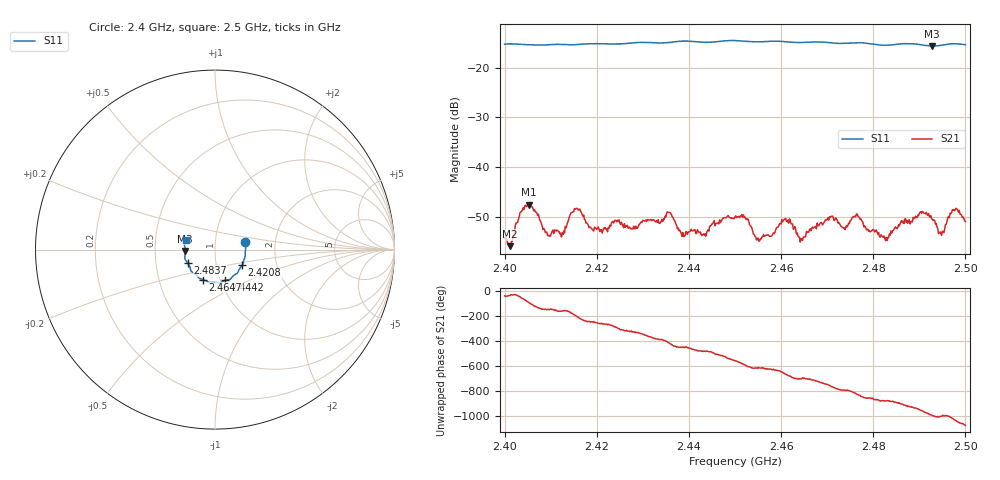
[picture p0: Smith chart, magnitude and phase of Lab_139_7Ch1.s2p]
# Hz S RI R 50
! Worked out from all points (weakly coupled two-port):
!   601 points, 2.4 GHz to 2.5 GHz, reference 50 ohm
!   highest |S21| = -47.63 dB at 2.4053 GHz (marker M1); lowest = -56.0 dB at 2.4012 GHz (marker M2)
!   lowest |S11| = -15.6 dB at 2.4927 GHz (marker M3), VSWR 1.40, Z = 35.8 - j0.511 ohm
!   |S11| at or under -10 dB: start of sweep to end of sweep
!   S12 and S22 are empty: the file has one direction only
!   S11 on the Smith chart (normalised r, x): 2.4 GHz: 1.40, +0.12; 2.4208 GHz: 1.33, -0.24; 2.4442 GHz: 1.05, -0.37; 2.4647 GHz: 0.83, -0.29; 2.4837 GHz: 0.73, -0.11; 2.5 GHz: 0.72, +0.08
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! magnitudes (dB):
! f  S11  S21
! 2.4 GHz  -15.3  -54.4
! 2.4012 GHz  -15.2  -56.0
! 2.4053 GHz  -15.4  -47.6
! 2.4097 GHz  -15.3  -53.8
! 2.4167 GHz  -15.2  -49.2
! 2.4208 GHz  -15.2  -52.7
! 2.4333 GHz  -15.0  -50.6
! 2.4357 GHz  -14.9  -49.2
! 2.4387 GHz  -14.6  -53.2
! 2.4442 GHz  -14.9  -52.7
! 2.45 GHz  -14.5  -50.1
! 2.4552 GHz  -14.8  -55.0
! 2.4607 GHz  -14.7  -50.6
! 2.4647 GHz  -14.9  -54.8
! 2.4667 GHz  -14.8  -52.3
! 2.4763 GHz  -15.0  -49.6
! 2.4833 GHz  -15.4  -54.2
! 2.4837 GHz  -15.4  -53.8
! 2.4927 GHz  -15.6  -50.4
! 2.4947 GHz  -15.5  -53.4
! 2.4977 GHz  -15.1  -48.8
! 2.5 GHz  -15.3  -51.0
